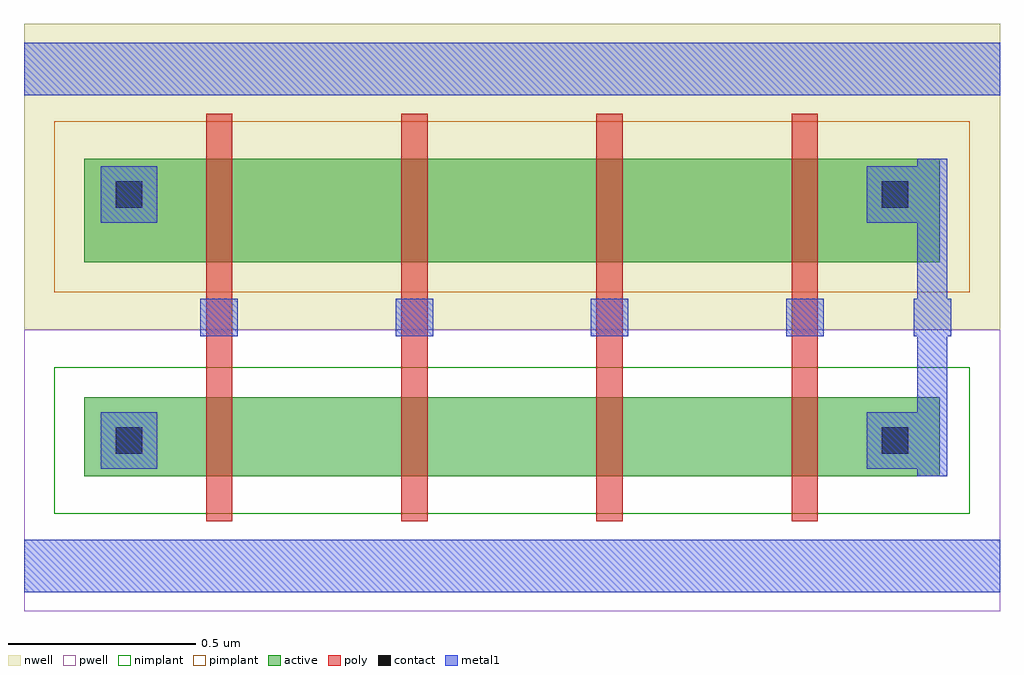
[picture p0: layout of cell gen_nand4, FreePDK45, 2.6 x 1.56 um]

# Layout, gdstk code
import gdstk
lib = gdstk.Library(unit=1e-6, precision=5e-10)
def R(c, l, rs):  # rectangles x0, y0, x1, y1
    for r in rs: c.add(gdstk.rectangle(r[:2], r[2:], *l))
def A(c, l, x, y, w, h, nx, ny, dx, dy):  # array of equal rectangles
    R(c, l, [(x+i*dx, y+j*dy, x+i*dx+w, y+j*dy+h) for i in range(nx) for j in range(ny)])
active = (1, 0)
pwell = (2, 0)
nwell = (3, 0)
nimplant = (4, 0)
pimplant = (5, 0)
poly = (9, 0)
contact = (10, 0)
metal1 = (11, 0)

gen_nand4 = lib.new_cell('gen_nand4')
R(gen_nand4, active, [(0.16,0.36,2.44,0.57), (0.16,0.93,2.44,1.205)])
R(gen_nand4, pwell, [(0,0,2.6,0.75)])
R(gen_nand4, nwell, [(0,0.75,2.6,1.565)])
R(gen_nand4, nimplant, [(0.08,0.26,2.52,0.65)])
R(gen_nand4, pimplant, [(0.08,0.85,2.52,1.305)])
A(gen_nand4, poly, 0.485, 0.24, 0.07, 1.085, 4, 1, 0.52, 0)
R(gen_nand4, contact, [(0.245,0.42,0.315,0.49), (2.285,0.42,2.355,0.49), (0.245,1.075,0.315,1.145), (2.285,1.075,2.355,1.145)])
A(gen_nand4, metal1, 0.47, 0.7325, 0.1, 0.1, 4, 1, 0.52, 0)
R(gen_nand4, metal1, [(0,0.05,2.6,0.19), (1.25,0.07,1.35,0.17), (2.38,0.36,2.46,1.205), (0.205,0.38,0.355,0.53), (2.245,0.38,2.395,0.53), (2.37,0.7325,2.47,0.8325), (0.205,1.035,0.355,1.185), (2.245,1.035,2.395,1.185), (0,1.375,2.6,1.515), (1.25,1.395,1.35,1.495)])

lib.write_gds('gen_nand4.gds')
